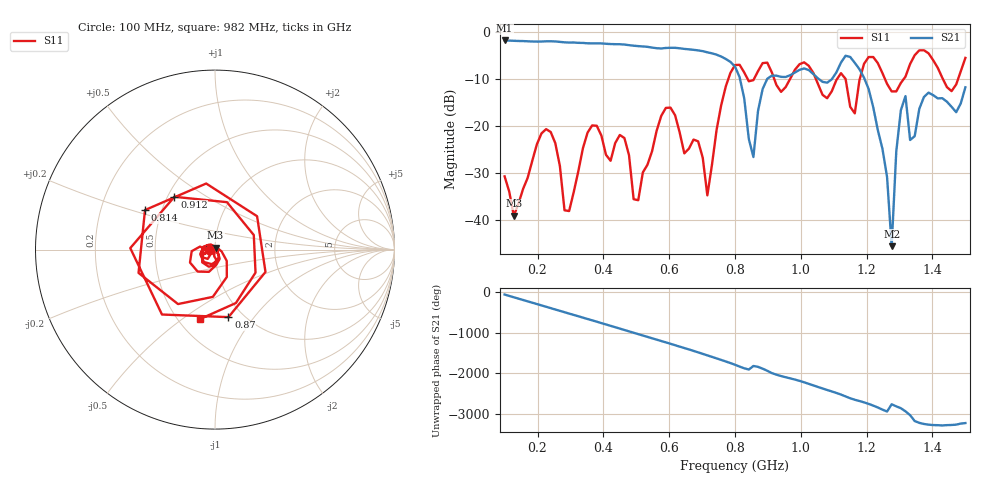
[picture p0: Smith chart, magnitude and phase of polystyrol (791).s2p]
! NanoVNA-App
! Date: 2025-09-25 15:36:02
! Start: 100MHz Stop: 1,5GHz Points: 101
! S-Parameter data: F S11 S21 S12 S22
# Hz S RI R 50
!  Frequency  S11_Real  S11_Imag  S21_Real  S21_Imag  S12_Real  S12_Imag  S22_Real  S22_Imag
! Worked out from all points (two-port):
!   101 points, 100 MHz to 1.5 GHz, reference 50 ohm
!   highest |S21| = -1.80 dB at 100 MHz (marker M1); lowest = -45.6 dB at 1.276 GHz (marker M2)
!   |S21| within 3 dB of the highest: start of sweep to 743 MHz
!   lowest |S11| = -39.1 dB at 128 MHz (marker M3), VSWR 1.02, Z = 50.3 + j1.06 ohm
!   |S11| at or under -10 dB: start of sweep to 779.7 MHz; 1.046 GHz to 1.11 GHz (64.39 MHz wide, 5.97 % of centre); 1.256 GHz to 1.313 GHz (57.03 MHz wide, 4.44 % of centre) (the widest 3 of 7)
!   S12 and S22 are empty: the file has one direction only
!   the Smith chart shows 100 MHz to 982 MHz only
!   S11 on the Smith chart (normalised r, x): 100 MHz: 0.94, -0.01; 814 MHz: 0.40, +0.22; 870 MHz: 0.86, -0.75; 912 MHz: 0.54, +0.37; 982 MHz: 0.64, -0.58
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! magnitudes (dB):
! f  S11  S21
! 100 MHz  -30.7  -1.8
! 128 MHz  -39.1  -1.9
! 212 MHz  -21.6  -2.0
! 282 MHz  -37.9  -2.2
! 338 MHz  -24.7  -2.3
! 464 MHz  -22.6  -2.7
! 506 MHz  -35.8  -3.0
! 576 MHz  -17.8  -3.5
! 716 MHz  -34.8  -4.3
! 800 MHz  -7.0  -7.4
! 814 MHz  -7.0  -9.6
! 856 MHz  -10.2  -26.6
! 870 MHz  -8.3  -16.8
! 912 MHz  -8.6  -9.3
! 982 MHz  -8.0  -8.6
! 1.038 GHz  -8.7  -8.9
! 1.164 GHz  -17.3  -6.6
! 1.192 GHz  -6.8  -9.7
! 1.276 GHz  -12.6  -45.6
! 1.29 GHz  -12.6  -25.4
! 1.318 GHz  -9.5  -13.6
! 1.5 GHz  -5.5  -11.8
